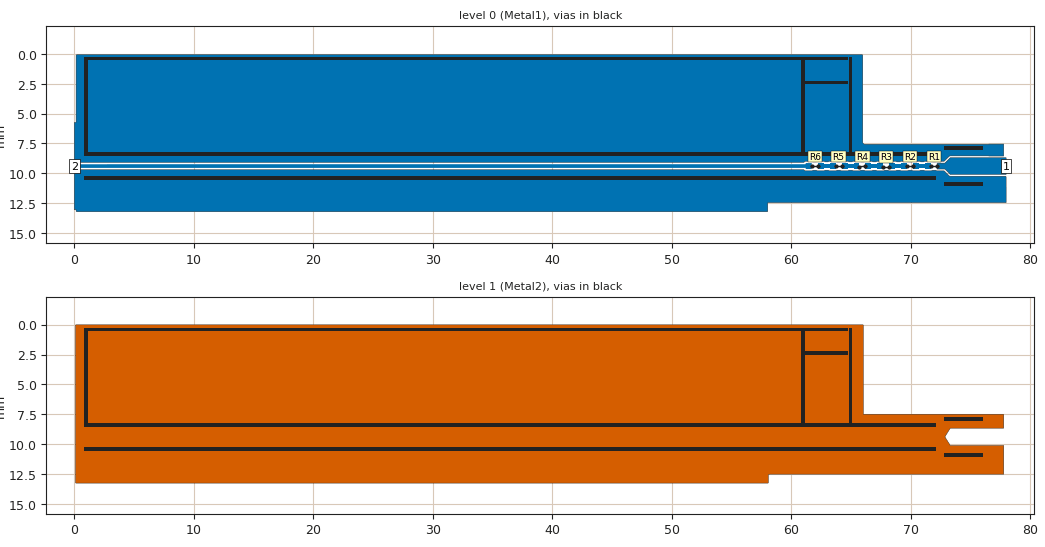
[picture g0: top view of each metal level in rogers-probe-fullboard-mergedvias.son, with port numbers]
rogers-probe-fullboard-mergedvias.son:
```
FTYP SONPROJ 17 ! Sonnet Project File
VER 17.52.2
HEADER
LIC antikernel2.2.49648 90e2ba8817c0 havequick azonenberg
DAT 08/16/2020 10:34:59
BUILT_BY_CREATED xgeom 16.56 07/03/2018 15:05:41
BUILT_BY_SAVED sonnet 17.52.2
MDATE 08/16/2020 10:34:59
HDATE 08/16/2020 10:34:59
END HEADER
DIM
ANG DEG
CAP PF
CON /OH
FREQ GHZ
IND NH
LNG MM
RES OH
END DIM
CONTROL
VARSWP
OPTIONS  -dj
SPEED 0
CACHE_ABS 1
Q_ACC N
END CONTROL
GEO
TMET "Free Space" 0 FREESPACE 376.7303136 0 0 0
BMET "Free Space" 0 FREESPACE 376.7303136 0 0 0
MET "Copper thick 1oz" 1 TMM 58000000 0.5 0.035 2
MET "Copper" 2 NOR 58000000 0.5 0.035 
BOX 2 78 13.5 6240 1080 20 0
      1 1 1 0 0 0 0 "Air"
      0.16 3.5 1 0.0037 0 0 0 "Rogers RO4350B"
      1 1 1 0 0 0 0 "Substrate"
TECHLAY METAL Metal1 <UNSPECIFIED> -2 0 
0 0 0 N 0 1 1 100 100 0 0 0 Y
END
END
TECHLAY METAL Metal2 <UNSPECIFIED> -3 0 
1 0 1 N 0 1 1 100 100 0 0 0 Y
END
END
LORGN 0 5 U 
POR1 BOX
POLY 629 1
7
2 50 0 0 0 0 9.389 
POR1 BOX
POLY 631 1
34
1 50 0 0 0 78 9.389 
SMD 0 "R1"
ID 640
GNDREF AUTO
SBOX 71.849 72.099 9.264 9.514
PBSHW N
LPOS 71.974 9.264
TYPE SPARAM 1
SMDP 0 72.224 9.389 R 3 1 
EXSMDP
GNDREF AUTO
TERMW FEED
END EXSMDP
SMDP 0 71.724 9.389 L 4 2 
EXSMDP
GNDREF AUTO
TERMW FEED
END EXSMDP
END
SMD 0 "R2"
ID 643
GNDREF AUTO
SBOX 69.849 70.099 9.289 9.539
PBSHW N
LPOS 69.974 9.289
TYPE SPARAM 2
SMDP 0 70.224 9.414 R 5 1 
EXSMDP
GNDREF AUTO
TERMW FEED
END EXSMDP
SMDP 0 69.724 9.414 L 6 2 
EXSMDP
GNDREF AUTO
TERMW FEED
END EXSMDP
END
SMD 0 "R3"
ID 646
GNDREF AUTO
SBOX 67.849 68.099 9.314 9.564
PBSHW N
LPOS 67.974 9.314
TYPE SPARAM 2
SMDP 0 68.224 9.439 R 7 1 
EXSMDP
GNDREF AUTO
TERMW FEED
END EXSMDP
SMDP 0 67.724 9.439 L 8 2 
EXSMDP
GNDREF AUTO
TERMW FEED
END EXSMDP
END
SMD 0 "R4"
ID 649
GNDREF AUTO
SBOX 65.849 66.099 9.3015 9.5515
PBSHW N
LPOS 65.974 9.3015
TYPE SPARAM 2
SMDP 0 66.224 9.414 R 9 1 
EXSMDP
GNDREF AUTO
TERMW FEED
END EXSMDP
SMDP 0 65.724 9.439 L 10 2 
EXSMDP
GNDREF AUTO
TERMW FEED
END EXSMDP
END
SMD 0 "R5"
ID 652
GNDREF AUTO
SBOX 63.849 64.099 9.289 9.539
PBSHW N
LPOS 63.974 9.289
TYPE SPARAM 2
SMDP 0 64.224 9.414 R 11 1 
EXSMDP
GNDREF AUTO
TERMW FEED
END EXSMDP
SMDP 0 63.724 9.414 L 12 2 
EXSMDP
GNDREF AUTO
TERMW FEED
END EXSMDP
END
SMD 0 "R6"
ID 655
GNDREF AUTO
SBOX 61.849 62.099 9.289 9.539
PBSHW N
LPOS 61.974 9.289
TYPE SPARAM 3
SMDP 0 62.224 9.414 R 13 1 
EXSMDP
GNDREF AUTO
TERMW FEED
END EXSMDP
SMDP 0 61.724 9.414 L 14 2 
EXSMDP
GNDREF AUTO
TERMW FEED
END EXSMDP
END
NUM 19
0 17 0 N 629 1 1 100 100 0 0 0 Y
TLAYNAM Metal1 NOH
USER_DAT FromImport
61.724 9.139
61.224 9.139
61.224 9.234
2.766 9.234
2.751 9.235
2.736 9.238
2.7332 9.239
0 9.239
0 9.539
2.7332 9.539
2.736 9.54
2.751 9.543
2.766 9.544
61.224 9.544
61.224 9.639
61.724 9.639
61.724 9.139
END
0 36 0 N 631 1 1 100 100 0 0 0 Y
TLAYNAM Metal1 NOH
USER_DAT FromImport
78 8.689
73.324 8.689
73.324 8.6936
73.323 8.694
73.319 8.696
73.315 8.699
73.311 8.702
73.308 8.705
72.89 9.123
72.89 9.123
72.887 9.126
72.884 9.13
72.881 9.134
72.879 9.138
72.8786 9.139
72.224 9.139
72.224 9.377
72.224 9.401
72.224 9.639
72.8786 9.639
72.879 9.64
72.881 9.644
72.884 9.648
72.887 9.652
72.89 9.655
72.89 9.655
72.89 9.655
73.308 10.073
73.311 10.076
73.315 10.079
73.319 10.082
73.323 10.084
73.324 10.0844
73.324 10.089
78 10.089
78 8.689
END
0 13 0 N 633 1 1 100 100 0 0 0 Y
TLAYNAM Metal1 NOH
USER_DAT FromImport
63.724 9.139
63.224 9.139
63.224 9.234
62.724 9.234
62.724 9.139
62.224 9.139
62.224 9.639
62.724 9.639
62.724 9.544
63.224 9.544
63.224 9.639
63.724 9.639
63.724 9.139
END
0 13 0 N 634 1 1 100 100 0 0 0 Y
TLAYNAM Metal1 NOH
USER_DAT FromImport
69.724 9.139
69.224 9.139
69.224 9.234
68.724 9.234
68.724 9.139
68.224 9.139
68.224 9.639
68.724 9.639
68.724 9.544
69.224 9.544
69.224 9.639
69.724 9.639
69.724 9.139
END
0 13 0 N 635 1 1 100 100 0 0 0 Y
TLAYNAM Metal1 NOH
USER_DAT FromImport
71.724 9.139
71.224 9.139
71.224 9.234
70.724 9.234
70.724 9.139
70.224 9.139
70.224 9.639
70.724 9.639
70.724 9.544
71.224 9.544
71.224 9.639
71.724 9.639
71.724 9.139
END
0 13 0 N 636 1 1 100 100 0 0 0 Y
TLAYNAM Metal1 NOH
USER_DAT FromImport
65.724 9.139
65.224 9.139
65.224 9.234
64.724 9.234
64.724 9.139
64.224 9.139
64.224 9.639
64.724 9.639
64.724 9.544
65.224 9.544
65.224 9.639
65.724 9.639
65.724 9.139
END
0 13 0 N 637 1 1 100 100 0 0 0 Y
TLAYNAM Metal1 NOH
USER_DAT FromImport
67.724 9.139
67.224 9.139
67.224 9.234
66.724 9.234
66.724 9.139
66.224 9.139
66.224 9.639
66.724 9.639
66.724 9.544
67.224 9.544
67.224 9.639
67.724 9.639
67.724 9.139
END
0 377 0 N 638 1 1 100 100 0 0 0 Y
TLAYNAM Metal1 INH
USER_DAT FromImport
61.051 9.083
61.058 9.082
61.065 9.08
61.072 9.077
61.078 9.073
61.084 9.069
61.09 9.065
61.095 9.059
61.1 9.054
61.10352941 9.048705882
61.11662712 9.032898305
61.1415 9.013
61.16729218 8.99954321
61.19567115 8.990855769
61.2248 8.988
61.7232 8.988
61.75232885 8.990855769
61.78070782 8.99954321
61.80731496 9.013425197
61.81351064 9.018212766
61.815 9.02
61.821 9.024
61.827 9.028
61.833 9.032
61.84 9.035
61.847 9.037
61.854 9.038
61.862 9.039
62.086 9.039
62.094 9.038
62.101 9.037
62.108 9.035
62.115 9.032
62.121 9.028
62.127 9.024
62.133 9.02
62.13448936 9.018212766
62.14068504 9.013425197
62.16729218 8.99954321
62.19567115 8.990855769
62.2248 8.988
62.7232 8.988
62.75232885 8.990855769
62.78070782 8.99954321
62.80731496 9.013425197
62.81351064 9.018212766
62.815 9.02
62.821 9.024
62.827 9.028
62.833 9.032
62.84 9.035
62.847 9.037
62.854 9.038
62.862 9.039
63.086 9.039
63.094 9.038
63.101 9.037
63.108 9.035
63.115 9.032
63.121 9.028
63.127 9.024
63.133 9.02
63.13448936 9.018212766
63.14068504 9.013425197
63.16729218 8.99954321
63.19567115 8.990855769
63.2248 8.988
63.7232 8.988
63.75232885 8.990855769
63.78070782 8.99954321
63.80731496 9.013425197
63.81351064 9.018212766
63.815 9.02
63.821 9.024
63.827 9.028
63.833 9.032
63.84 9.035
63.847 9.037
63.854 9.038
63.862 9.039
64.086 9.039
64.094 9.038
64.101 9.037
64.108 9.035
64.115 9.032
64.121 9.028
64.127 9.024
64.133 9.02
64.13448936 9.018212766
64.14068504 9.013425197
64.16729218 8.99954321
64.19567115 8.990855769
64.2248 8.988
64.7232 8.988
64.75232885 8.990855769
64.78070782 8.99954321
64.80731496 9.013425197
64.81351064 9.018212766
64.815 9.02
64.821 9.024
64.827 9.028
64.833 9.032
64.84 9.035
64.847 9.037
64.854 9.038
64.862 9.039
65.086 9.039
65.094 9.038
65.101 9.037
65.108 9.035
65.115 9.032
65.121 9.028
65.127 9.024
65.133 9.02
65.13448936 9.018212766
65.14068504 9.013425197
65.16729218 8.99954321
65.19567115 8.990855769
65.2248 8.988
65.7232 8.988
65.75232885 8.990855769
65.78070782 8.99954321
65.80731496 9.013425197
65.81351064 9.018212766
65.815 9.02
65.821 9.024
65.827 9.028
65.833 9.032
65.84 9.035
65.847 9.037
65.854 9.038
65.862 9.039
66.086 9.039
66.094 9.038
66.101 9.037
66.108 9.035
66.115 9.032
66.121 9.028
66.127 9.024
66.133 9.02
66.13448936 9.018212766
66.14068504 9.013425197
66.16729218 8.99954321
66.19567115 8.990855769
66.2248 8.988
66.7232 8.988
66.75232885 8.990855769
66.78070782 8.99954321
66.80731496 9.013425197
66.81351064 9.018212766
66.815 9.02
66.821 9.024
66.827 9.028
66.833 9.032
66.84 9.035
66.847 9.037
66.854 9.038
66.862 9.039
67.086 9.039
67.094 9.038
67.101 9.037
67.108 9.035
67.115 9.032
67.121 9.028
67.127 9.024
67.133 9.02
67.13448936 9.018212766
67.14068504 9.013425197
67.16729218 8.99954321
67.19567115 8.990855769
67.2248 8.988
67.7232 8.988
67.75232885 8.990855769
67.78070782 8.99954321
67.80731496 9.013425197
67.81351064 9.018212766
67.815 9.02
67.821 9.024
67.827 9.028
67.833 9.032
67.84 9.035
67.847 9.037
67.854 9.038
67.862 9.039
68.086 9.039
68.094 9.038
68.101 9.037
68.108 9.035
68.115 9.032
68.121 9.028
68.127 9.024
68.133 9.02
68.13448936 9.018212766
68.14068504 9.013425197
68.16729218 8.99954321
68.19567115 8.990855769
68.2248 8.988
68.7232 8.988
68.75232885 8.990855769
68.78070782 8.99954321
68.80731496 9.013425197
68.81351064 9.018212766
68.815 9.02
68.821 9.024
68.827 9.028
68.833 9.032
68.84 9.035
68.847 9.037
68.854 9.038
68.862 9.039
69.086 9.039
69.094 9.038
69.101 9.037
69.108 9.035
69.115 9.032
69.121 9.028
69.127 9.024
69.133 9.02
69.13448936 9.018212766
69.14068504 9.013425197
69.16729218 8.99954321
69.19567115 8.990855769
69.2248 8.988
69.7232 8.988
69.75232885 8.990855769
69.78070782 8.99954321
69.80731496 9.013425197
69.81351064 9.018212766
69.815 9.02
69.821 9.024
69.827 9.028
69.833 9.032
69.84 9.035
69.847 9.037
69.854 9.038
69.862 9.039
70.086 9.039
70.094 9.038
70.101 9.037
70.108 9.035
70.115 9.032
70.121 9.028
70.127 9.024
70.133 9.02
70.13448936 9.018212766
70.14068504 9.013425197
70.16729218 8.99954321
70.19567115 8.990855769
70.2248 8.988
70.7232 8.988
70.75232885 8.990855769
70.78070782 8.99954321
70.80731496 9.013425197
70.81351064 9.018212766
70.815 9.02
70.821 9.024
70.827 9.028
70.833 9.032
70.84 9.035
70.847 9.037
70.854 9.038
70.862 9.039
71.086 9.039
71.094 9.038
71.101 9.037
71.108 9.035
71.115 9.032
71.121 9.028
71.127 9.024
71.133 9.02
71.13448936 9.018212766
71.14068504 9.013425197
71.16729218 8.99954321
71.19567115 8.990855769
71.2248 8.988
71.7232 8.988
71.75232885 8.990855769
71.78070782 8.99954321
71.80731496 9.013425197
71.81351064 9.018212766
71.815 9.02
71.821 9.024
71.827 9.028
71.833 9.032
71.84 9.035
71.847 9.037
71.854 9.038
71.862 9.039
72.086 9.039
72.094 9.038
72.101 9.037
72.108 9.035
72.115 9.032
72.121 9.028
72.127 9.024
72.133 9.02
72.13448936 9.018212766
72.14068504 9.013425197
72.16729218 8.99954321
72.19567115 8.990855769
72.2248 8.988
72.722 8.988
72.731 8.989
72.784 8.989
72.792 8.988
72.799 8.987
72.806 8.985
72.813 8.982
72.819 8.978
72.826 8.974
72.831 8.97
73.208 8.593
73.213 8.588
73.21765385 8.582076923
73.2415 8.563
73.26729218 8.54954321
73.29567115 8.540855769
73.3248 8.538
76.55 8.538
76.55 8.55
77.8 8.55
77.8 7.55
76.55 7.55
76.55 7.564
66.183 7.564
66.17437931 7.564862069
66.13675796 7.56083121
66.1045536 7.5506928
66.07720833 7.535625
66.0498 7.5132
66.027375 7.485791667
66.0123072 7.4584464
66.00216879 7.426242038
65.99813793 7.38862069
65.999 7.38
65.999 2.089
66 2.089
66 0.689
65.999 0.689
65.999 0.135
65.998 0.128
65.997 0.121
65.995 0.114
65.992 0.107
65.988 0.1
65.984 0.094
65.98 0.089
65.974 0.083
65.969 0.079
65.963 0.075
65.956 0.071
65.949 0.068
65.942 0.066
65.935 0.065
65.928 0.064
0.22 0.064
0.213 0.065
0.206 0.066
0.199 0.068
0.192 0.071
0.185 0.075
0.179 0.079
0.174 0.083
0.168 0.089
0.164 0.094
0.16 0.1
0.156 0.107
0.153 0.114
0.151 0.121
0.15 0.128
0.149 0.135
0.149 0.143
0.149 5.734
0 5.734
0 9.084
61.043 9.084
61.051 9.083
END
0 380 0 N 639 1 1 100 100 0 0 0 Y
TLAYNAM Metal1 NOH
USER_DAT FromImport
57.985 13.213
57.992 13.212
57.999 13.21
58.006 13.207
58.013 13.203
58.019 13.199
58.024 13.195
58.03 13.189
58.034 13.184
58.038 13.178
58.042 13.171
58.045 13.164
58.047 13.157
58.048 13.15
58.049 13.143
58.049 12.655
58.049 12.648
58.04813793 12.63937931
58.05 12.62199999
58.05 12.45
78 12.45
78 11.189
77.999 11.189
77.999 10.319
77.999 10.311
77.998 10.304
77.997 10.297
77.995 10.29
77.992 10.283
77.988 10.276
77.984 10.27
77.98 10.265
77.974 10.259
77.969 10.255
77.963 10.251
77.956 10.247
77.949 10.244
77.942 10.242
77.935 10.241
77.928 10.24
73.3248 10.24
73.29567115 10.23714423
73.26729218 10.22845679
73.2415 10.215
73.21765385 10.19592308
73.213 10.19
72.831 9.808
72.826 9.804
72.819 9.8
72.813 9.796
72.806 9.793
72.799 9.791
72.792 9.79
72.784 9.789
72.731 9.789
72.722 9.79
72.2248 9.79
72.19567115 9.787144231
72.16729218 9.77845679
72.14068504 9.764574803
72.13448936 9.759787234
72.133 9.758
72.127 9.754
72.121 9.75
72.115 9.746
72.108 9.743
72.101 9.741
72.094 9.74
72.086 9.739
71.862 9.739
71.854 9.74
71.847 9.741
71.84 9.743
71.833 9.746
71.827 9.75
71.821 9.754
71.815 9.758
71.81351064 9.759787234
71.80731496 9.764574803
71.78070782 9.77845679
71.75232885 9.787144231
71.7232 9.79
71.2248 9.79
71.19567115 9.787144231
71.16729218 9.77845679
71.14068504 9.764574803
71.13448936 9.759787234
71.133 9.758
71.127 9.754
71.121 9.75
71.115 9.746
71.108 9.743
71.101 9.741
71.094 9.74
71.086 9.739
70.862 9.739
70.854 9.74
70.847 9.741
70.84 9.743
70.833 9.746
70.827 9.75
70.821 9.754
70.815 9.758
70.81351064 9.759787234
70.80731496 9.764574803
70.78070782 9.77845679
70.75232885 9.787144231
70.7232 9.79
70.2248 9.79
70.19567115 9.787144231
70.16729218 9.77845679
70.14068504 9.764574803
70.13448936 9.759787234
70.133 9.758
70.127 9.754
70.121 9.75
70.115 9.746
70.108 9.743
70.101 9.741
70.094 9.74
70.086 9.739
69.862 9.739
69.854 9.74
69.847 9.741
69.84 9.743
69.833 9.746
69.827 9.75
69.821 9.754
69.815 9.758
69.81351064 9.759787234
69.80731496 9.764574803
69.78070782 9.77845679
69.75232885 9.787144231
69.7232 9.79
69.2248 9.79
69.19567115 9.787144231
69.16729218 9.77845679
69.14068504 9.764574803
69.13448936 9.759787234
69.133 9.758
69.127 9.754
69.121 9.75
69.115 9.746
69.108 9.743
69.101 9.741
69.094 9.74
69.086 9.739
68.862 9.739
68.854 9.74
68.847 9.741
68.84 9.743
68.833 9.746
68.827 9.75
68.821 9.754
68.815 9.758
68.81351064 9.759787234
68.80731496 9.764574803
68.78070782 9.77845679
68.75232885 9.787144231
68.7232 9.79
68.2248 9.79
68.19567115 9.787144231
68.16729218 9.77845679
68.14068504 9.764574803
68.13448936 9.759787234
68.133 9.758
68.127 9.754
68.121 9.75
68.115 9.746
68.108 9.743
68.101 9.741
68.094 9.74
68.086 9.739
67.862 9.739
67.854 9.74
67.847 9.741
67.84 9.743
67.833 9.746
67.827 9.75
67.821 9.754
67.815 9.758
67.81351064 9.759787234
67.80731496 9.764574803
67.78070782 9.77845679
67.75232885 9.787144231
67.7232 9.79
67.2248 9.79
67.19567115 9.787144231
67.16729218 9.77845679
67.14068504 9.764574803
67.13448936 9.759787234
67.133 9.758
67.127 9.754
67.121 9.75
67.115 9.746
67.108 9.743
67.101 9.741
67.094 9.74
67.086 9.739
66.862 9.739
66.854 9.74
66.847 9.741
66.84 9.743
66.833 9.746
66.827 9.75
66.821 9.754
66.815 9.758
66.81351064 9.759787234
66.80731496 9.764574803
66.78070782 9.77845679
66.75232885 9.787144231
66.7232 9.79
66.2248 9.79
66.19567115 9.787144231
66.16729218 9.77845679
66.14068504 9.764574803
66.13448936 9.759787234
66.133 9.758
66.127 9.754
66.121 9.75
66.115 9.746
66.108 9.743
66.101 9.741
66.094 9.74
66.086 9.739
65.862 9.739
65.854 9.74
65.847 9.741
65.84 9.743
65.833 9.746
65.827 9.75
65.821 9.754
65.815 9.758
65.81351064 9.759787234
65.80731496 9.764574803
65.78070782 9.77845679
65.75232885 9.787144231
65.7232 9.79
65.2248 9.79
65.19567115 9.787144231
65.16729218 9.77845679
65.14068504 9.764574803
65.13448936 9.759787234
65.133 9.758
65.127 9.754
65.121 9.75
65.115 9.746
65.108 9.743
65.101 9.741
65.094 9.74
65.086 9.739
64.862 9.739
64.854 9.74
64.847 9.741
64.84 9.743
64.833 9.746
64.827 9.75
64.821 9.754
64.815 9.758
64.81351064 9.759787234
64.80731496 9.764574803
64.78070782 9.77845679
64.75232885 9.787144231
64.7232 9.79
64.2248 9.79
64.19567115 9.787144231
64.16729218 9.77845679
64.14068504 9.764574803
64.13448936 9.759787234
64.133 9.758
64.127 9.754
64.121 9.75
64.115 9.746
64.108 9.743
64.101 9.741
64.094 9.74
64.086 9.739
63.862 9.739
63.854 9.74
63.847 9.741
63.84 9.743
63.833 9.746
63.827 9.75
63.821 9.754
63.815 9.758
63.81351064 9.759787234
63.80731496 9.764574803
63.78070782 9.77845679
63.75232885 9.787144231
63.7232 9.79
63.2248 9.79
63.19567115 9.787144231
63.16729218 9.77845679
63.14068504 9.764574803
63.13448936 9.759787234
63.133 9.758
63.127 9.754
63.121 9.75
63.115 9.746
63.108 9.743
63.101 9.741
63.094 9.74
63.086 9.739
62.862 9.739
62.854 9.74
62.847 9.741
62.84 9.743
62.833 9.746
62.827 9.75
62.821 9.754
62.815 9.758
62.81351064 9.759787234
62.80731496 9.764574803
62.78070782 9.77845679
62.75232885 9.787144231
62.7232 9.79
62.2248 9.79
62.19567115 9.787144231
62.16729218 9.77845679
62.14068504 9.764574803
62.13448936 9.759787234
62.133 9.758
62.127 9.754
62.121 9.75
62.115 9.746
62.108 9.743
62.101 9.741
62.094 9.74
62.086 9.739
61.862 9.739
61.854 9.74
61.847 9.741
61.84 9.743
61.833 9.746
61.827 9.75
61.821 9.754
61.815 9.758
61.81351064 9.759787234
61.80731496 9.764574803
61.78070782 9.77845679
61.75232885 9.787144231
61.7232 9.79
61.2248 9.79
61.19567115 9.787144231
61.16729218 9.77845679
61.1415 9.765
61.11662712 9.745101695
61.10352941 9.729294118
61.1 9.724
61.095 9.719
61.09 9.713
61.084 9.709
61.078 9.705
61.072 9.701
61.065 9.698
61.058 9.696
61.051 9.695
61.043 9.694
0 9.694
0 13.044
0.149 13.044
0.149 13.135
0.149 13.143
0.15 13.15
0.151 13.157
0.153 13.164
0.156 13.171
0.16 13.178
0.164 13.184
0.168 13.189
0.174 13.195
0.179 13.199
0.185 13.203
0.192 13.207
0.199 13.21
0.206 13.212
0.213 13.213
0.22 13.214
57.978 13.214
57.985 13.213
END
VIA POLYGON
0 5 -1 N 658 1 1 100 100 0 0 0 Y
TOLEVEL 1 RING NOCOVERS
USER_DAT FromImport
60.824 8.25
60.824 0.55
61.124 0.55
61.124 8.25
60.824 8.25
END
VIA POLYGON
0 5 -1 N 659 1 1 100 100 0 0 0 Y
TOLEVEL 1 RING NOCOVERS
USER_DAT FromImport
61.1 2.539
61.1 2.239
64.8 2.239
64.8 2.539
61.1 2.539
END
VIA POLYGON
0 5 -1 N 660 1 1 100 100 0 0 0 Y
TOLEVEL 1 RING NOCOVERS
USER_DAT FromImport
64.824 8.25
64.824 0.25
65.124 0.25
65.124 8.25
64.824 8.25
END
VIA POLYGON
0 5 -1 N 661 1 1 100 100 0 0 0 Y
TOLEVEL 1 RING NOCOVERS
USER_DAT FromImport
0.824 0.539
0.824 0.239
64.8 0.239
64.8 0.539
0.824 0.539
END
VIA POLYGON
0 5 -1 N 662 1 1 100 100 0 0 0 Y
TOLEVEL 1 RING NOCOVERS
USER_DAT FromImport
0.824 8.25
0.824 0.55
1.124 0.55
1.124 8.25
0.824 8.25
END
VIA POLYGON
0 5 -1 N 663 1 1 100 100 0 0 0 Y
TOLEVEL 1 RING NOCOVERS
USER_DAT FromImport
0.824 8.539
0.824 8.239
72.15 8.239
72.15 8.539
0.824 8.539
END
VIA POLYGON
0 5 -1 N 664 1 1 100 100 0 0 0 Y
TOLEVEL 1 RING NOCOVERS
USER_DAT FromImport
0.824 10.539
0.824 10.239
72.1 10.239
72.1 10.539
0.824 10.539
END
VIA POLYGON
0 5 -1 N 665 1 1 100 100 0 0 0 Y
TOLEVEL 1 RING NOCOVERS
USER_DAT FromImport
72.824 8.039
72.824 7.739
76.1 7.739
76.1 8.039
72.824 8.039
END
VIA POLYGON
0 5 -1 N 666 1 1 100 100 0 0 0 Y
TOLEVEL 1 RING NOCOVERS
USER_DAT FromImport
72.824 11.039
72.824 10.739
76.1 10.739
76.1 11.039
72.824 11.039
END
1 97 1 N 669 1 1 100 100 0 0 0 Y
TLAYNAM Metal2 INH
58.061 13.263
58.066 13.261
58.07 13.259
58.075 13.257
58.079 13.254
58.083 13.251
58.086 13.248
58.089 13.244
58.092 13.24
58.094 13.235
58.096 13.231
58.098 13.226
58.099 13.221
58.099 13.216
58.099 12.645
58.099 12.64
58.09874576 12.63872881
58.10126354 12.61418051
58.1086408 12.5886954
58.11921456 12.56977395
58.13508929 12.55008929
58.15477395 12.53421456
58.1736954 12.5236408
58.19896476 12.51632599
58.223 12.514
58.224 12.5138
58.225 12.514
77.8 12.514
77.8 10.114
73.3254 10.114
73.32417073 10.11356098
73.32022955 10.10830607
72.87485315 9.389988818
72.8745 9.389
72.87453385 9.388526165
73.32116407 8.668186704
73.32364646 8.664959596
73.32457647 8.664458824
73.331 8.664
77.8 8.664
77.8 7.5
66.0498 7.5
66.0498 7.399550007
66.04874576 7.389271186
66.049 7.388
66.049 7.383
66.049 0.062
66.049 0.057
66.048 0.052
66.046 0.047
66.044 0.043
66.042 0.038
66.039 0.034
66.036 0.03
66.033 0.027
66.029 0.024
66.025 0.021
66.02 0.019
66.016 0.017
66.011 0.015
66.006 0.014
0.142 0.014
0.137 0.015
0.132 0.017
0.128 0.019
0.123 0.021
0.119 0.024
0.115 0.027
0.112 0.03
0.109 0.034
0.106 0.038
0.104 0.043
0.102 0.047
0.1 0.052
0.099 0.057
0.099 0.062
0.099 0.066
0.099 0.071
0.099 13.207
0.099 13.212
0.099 13.216
0.099 13.221
0.1 13.226
0.102 13.231
0.104 13.235
0.106 13.24
0.109 13.244
0.112 13.248
0.115 13.251
0.119 13.254
0.123 13.257
0.128 13.259
0.132 13.261
0.137 13.263
0.142 13.264
58.056 13.264
58.061 13.263
END
END GEO
OPT
MAX 100
END OPT
VARSWP
ENABLED Y
FREQ Y AY ABS_ENTRY 0.1 10.0 -1 300 
END
END VARSWP
FILEOUT
FOLDER .
END FILEOUT
SMDFILES
3 "../../../../../../share/datasheets/Vishay/0402/FC0402-FlipChip-50 Ohm.s2p"
2 "../../../../../../share/datasheets/Vishay/0402/FC0402-FlipChip-75 Ohm.s2p"
1 "../../../../../../share/datasheets/Vishay/0402/FC0402-FlipChip-100 Ohm.s2p"
END SMDFILES
```
